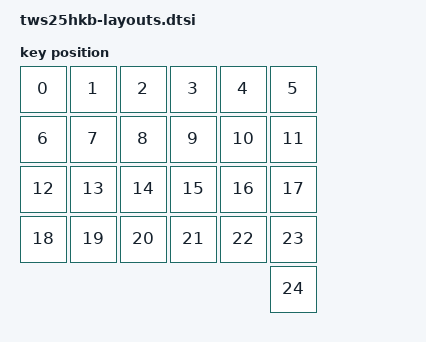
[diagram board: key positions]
// See https://zmk.dev/docs/development/hardware-integration/physical-layouts
// for how to configure this.

#include <physical_layouts.dtsi>

/ {
    default_layout: default_layout {
        compatible = "zmk,physical-layout";
        display-name = "Default Layout";
        transform = <&default_transform>;
        kscan = <&kscan>;

        // Edit this to define the positions and sizes of the keys, or remove it
        // if your keyboard will not support ZMK Studio.
        // https://zmk.dev/docs/development/hardware-integration/physical-layouts#optional-keys-property
        keys  //                     w   h    x    y     rot    rx    ry
            = <&key_physical_attrs 100 100    0    0       0     0     0>  // RC(0,0)
            , <&key_physical_attrs 100 100  100    0       0     0     0>  // RC(0,1)
            , <&key_physical_attrs 100 100  200    0       0     0     0>  // RC(0,2)
            , <&key_physical_attrs 100 100  300    0       0     0     0>  // RC(0,3)
            , <&key_physical_attrs 100 100  400    0       0     0     0>  // RC(0,4)
            , <&key_physical_attrs 100 100  500    0       0     0     0>  // RC(0,5)

            , <&key_physical_attrs 100 100    0  100       0     0     0>  // RC(1,0)
            , <&key_physical_attrs 100 100  100  100       0     0     0>  // RC(1,1)
            , <&key_physical_attrs 100 100  200  100       0     0     0>  // RC(1,2)
            , <&key_physical_attrs 100 100  300  100       0     0     0>  // RC(1,3)
            , <&key_physical_attrs 100 100  400  100       0     0     0>  // RC(1,4)
            , <&key_physical_attrs 100 100  500  100       0     0     0>  // RC(1,5)

            , <&key_physical_attrs 100 100    0  200       0     0     0>  // RC(2,0)
            , <&key_physical_attrs 100 100  100  200       0     0     0>  // RC(2,1)
            , <&key_physical_attrs 100 100  200  200       0     0     0>  // RC(2,2)
            , <&key_physical_attrs 100 100  300  200       0     0     0>  // RC(2,3)
            , <&key_physical_attrs 100 100  400  200       0     0     0>  // RC(2,4)
            , <&key_physical_attrs 100 100  500  200       0     0     0>  // RC(2,5)

            , <&key_physical_attrs 100 100    0  300       0     0     0>  // RC(3,0)
            , <&key_physical_attrs 100 100  100  300       0     0     0>  // RC(3,1)
            , <&key_physical_attrs 100 100  200  300       0     0     0>  // RC(3,2)
            , <&key_physical_attrs 100 100  300  300       0     0     0>  // RC(3,3)
            , <&key_physical_attrs 100 100  400  300       0     0     0>  // RC(3,4)
            , <&key_physical_attrs 100 100  500  300       0     0     0>  // RC(3,5)

            , <&key_physical_attrs 100 100  500  400       0     0     0>  // RC(4,5)
            ;
    };
};
